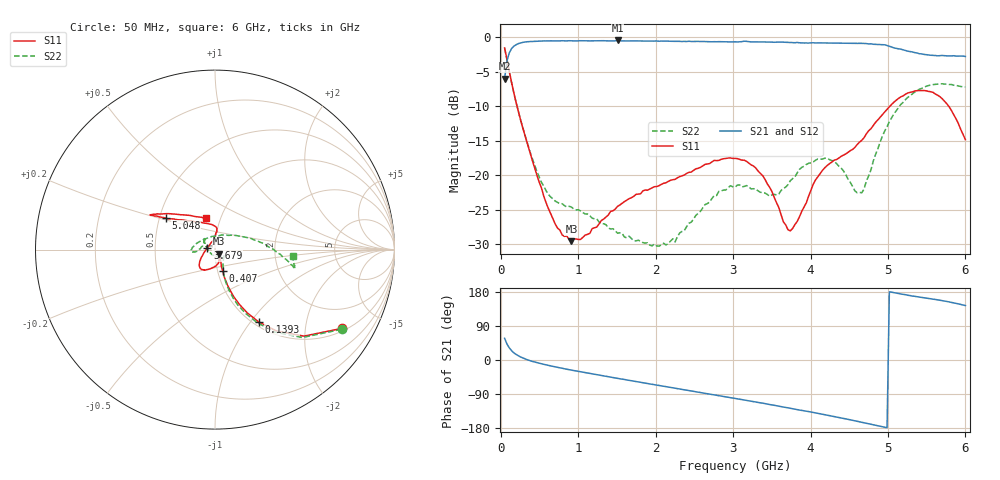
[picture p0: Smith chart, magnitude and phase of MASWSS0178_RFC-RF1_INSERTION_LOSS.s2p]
!Part No: MASWSS0178
!2-port De-embedded S-parameters
!Date: 11-02-09
!Temp: Room
!Control Voltage = 0/5V
!REF: AQTN1557
!Fixture Loss is only removed from S21 and S12 data
!47pF Blocking Caps
!RFC to RF1 Insertion Loss State
#GHZ S MA R 50
!Freq(GHz)	S11 (Mag)	S11 (Ang)	S21 (Mag)	S21 (Ang)	S12 (Mag)	S12 (Ang)	S22 (Mag)	S22 (Ang)
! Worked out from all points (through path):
!   201 points, 50 MHz to 6 GHz, reference 50 ohm
!   highest |S21| = -0.50 dB at 1.508 GHz (marker M1); lowest = -6.0 dB at 50 MHz (marker M2)
!   group delay of S21, straight-line fit = 106 ps
!   lowest |S11| = -29.6 dB at 912.8 MHz (marker M3), VSWR 1.07, Z = 52.4 - j2.38 ohm
!   |S11| at or under -10 dB: 210.3 MHz to 5.026 GHz (4.816 GHz wide, 184 % of centre); 5.784 GHz to end of sweep
!   |S22| runs from -30.3 to -1.6 dB; largest |S21 - S12| = 0.016
!   S11 on the Smith chart (normalised r, x): 50 MHz: 1.10, -3.17; 139.2 MHz: 1.06, -1.10; 407 MHz: 1.06, -0.26; 3.679 GHz: 0.92, +0.02; 5.048 GHz: 0.54, +0.21; 6 GHz: 0.86, +0.31
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0.05  0.8338 -31.7  0.5005 57.2  0.4973 55.4  0.8333 -32.2
0.07975  0.6911 -44.2  0.669 42.5  0.6704 42.3  0.6909 -45.2
0.13925  0.4706 -58.9  0.8242 24.8  0.8252 24.8  0.4705 -60.0
0.2285  0.2881 -68.1  0.8965 11.1  0.8969 11.0  0.2883 -69.4
0.407  0.1286 -70.4  0.9295 -3.7  0.9312 -3.5  0.1324 -69.4
0.7045  0.04423 -51.9  0.9377 -18.2  0.9387 -18.3  0.06504 -41.4
0.91275  0.03327 -43.1  0.939 -26.7  0.9387 -26.7  0.05888 -35.2
1.0615  0.03559 -44.0  0.9394 -32.2  0.9395 -32.3  0.05358 -39.1
1.50775  0.05953 -66.6  0.9445 -48.4  0.9427 -48.4  0.03808 -79.5
2.04325  0.08401 -80.8  0.932 -67.2  0.9344 -67.1  0.0307 -134.4
3.025  0.1325 -128.1  0.9239 -101.4  0.9238 -101.4  0.08188 135.0
3.382  0.09946 -144.8  0.9213 -113.9  0.9204 -114.1  0.07494 141.9
3.6795  0.04376 167.3  0.9162 -125.3  0.9163 -125.2  0.08207 176.4
3.76875  0.04121 129.9  0.9122 -128.7  0.9126 -128.6  0.09451 -176.0
4.0365  0.08636 88.2  0.9084 -138.5  0.9076 -138.5  0.125 -173.7
4.30425  0.1284 88.2  0.902 -149.2  0.9029 -149.2  0.1265 174.4
4.66125  0.1788 121.6  0.8999 -164.3  0.897 -164.4  0.07463 89.7
5.01825  0.3127 146.8  0.8565 180.0  0.8565 179.8  0.2446 11.0
5.048  0.3258 147.3  0.8472 178.8  0.8472 178.6  0.2607 8.5
5.5835  0.3974 150.3  0.7371 160.5  0.7321 160.4  0.453 -12.9
5.79175  0.3119 140.4  0.7301 153.2  0.7272 153.0  0.4534 -12.4
6  0.1809 105.4  0.7231 143.6  0.719 143.9  0.4357 -4.8
